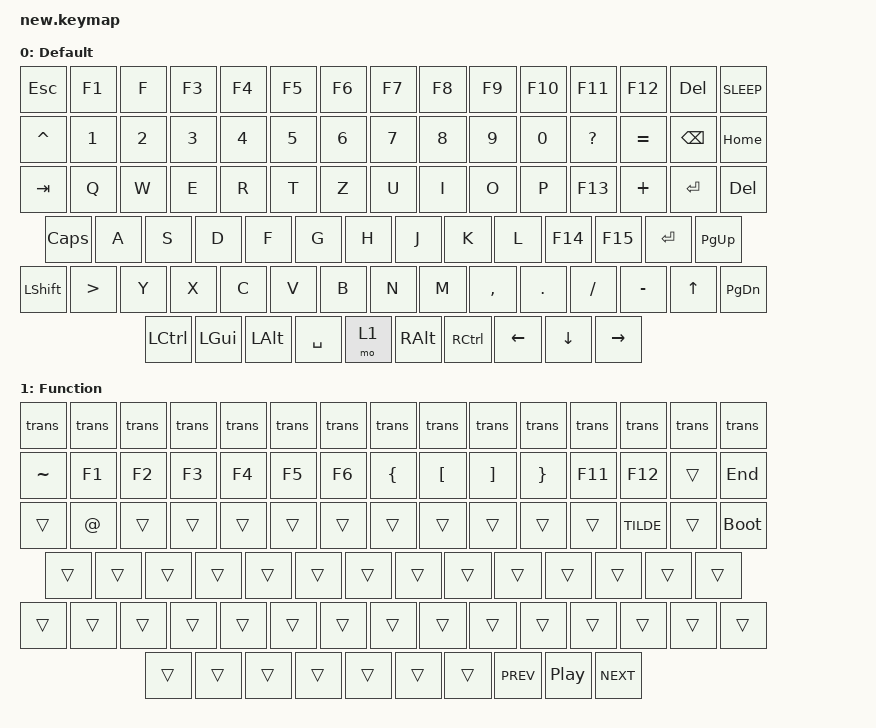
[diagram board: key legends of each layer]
#include <behaviors.dtsi>
#include <dt-bindings/zmk/keys.h>
#include <dt-bindings/zmk/bt.h>

/ {


    keymap {
        compatible = "zmk,keymap";

        default_layer {
            display-name = "Default";


            bindings = <
            &kp ESC   &kp F1  &kp F    &kp F3    &kp F4    &kp F5    &kp F6    &kp F7    &kp F8  &kp F9    &kp F10    &kp F11    &kp F12     &kp DEL  &kp C_SLEEP
             &kp CARET &kp N1    &kp N2    &kp N3    &kp N4    &kp N5    &kp N6    &kp N7    &kp N8  &kp N9    &kp N0    &kp QMARK &kp EQUAL &kp BSPC &kp HOME
             &kp TAB   &kp Q     &kp W     &kp E     &kp R     &kp T     &kp Z     &kp U     &kp I   &kp O     &kp P     &kp F13  &kp PLUS   &kp RET &kp DEL
             &kp CLCK  &kp A     &kp S     &kp D     &kp F     &kp G     &kp H     &kp J     &kp K   &kp L     &kp F14   &kp F15             &kp RET  &kp PG_UP
             &kp LSHFT &kp GT    &kp Y     &kp X     &kp C     &kp V     &kp B     &kp N     &kp M   &kp COMMA &kp DOT   &kp FSLH  &kp MINUS &kp UP   &kp PG_DN
             &kp LCTRL &kp LGUI  &kp LALT                      &kp SPACE                     &mo 1   &kp RALT  &kp RCTRL &kp LEFT            &kp DOWN &kp RIGHT
            >;
        };
        function_layer {
            display-name = "Function";

            bindings = <
            &kp trans    &kp trans  &kp trans  &kp trans  &kp trans  &kp trans  &kp trans  &kp trans  &kp trans  &kp trans  &kp trans  &kp trans  &kp trans  &kp trans  &kp trans  
              &kp TILDE &kp F1    &kp F2    &kp F3    &kp F4    &kp F5    &kp F6    &kp LBRC &kp LBKT &kp RBKT  &kp RBRC  &kp F11   &kp F12   &trans   &kp END
              &trans    &kp AT    &trans    &trans    &trans    &trans    &trans    &trans    &trans  &trans    &trans    &trans    &TILDE    &trans   &bootloader
              &trans    &trans    &trans    &trans    &trans    &trans    &trans    &trans    &trans  &trans    &trans    &trans              &trans   &trans
              &trans    &trans    &trans    &trans    &trans    &trans    &trans    &trans    &trans  &trans    &trans    &trans    &trans    &trans   &trans
              &trans    &trans    &trans                        &trans                        &trans  &trans    &trans    &kp C_PREV          &kp C_PP &kp C_NEXT
            >;
        };
    };
};
